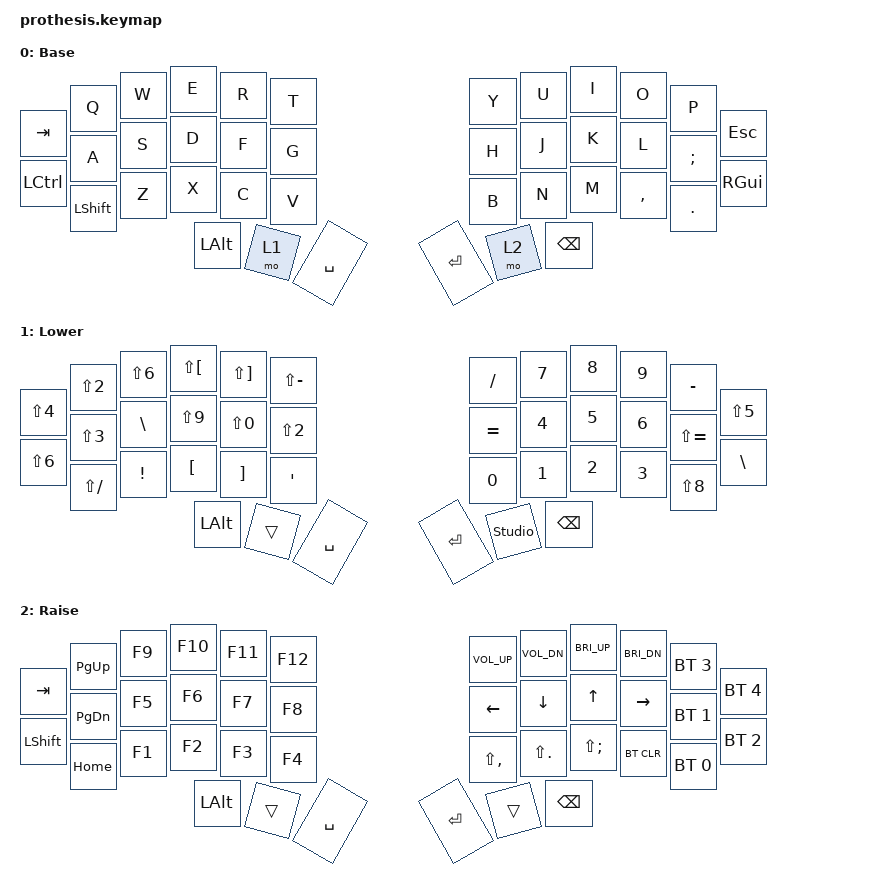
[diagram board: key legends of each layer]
#include <behaviors.dtsi>
#include <dt-bindings/zmk/keys.h>
#include <dt-bindings/zmk/bt.h>

/ {
    keymap {
        compatible = "zmk,keymap";

        // =====================================================================
        // BASE
        // =====================================================================

        default_layer {
            display-name = "Base";

            // -----------------------------------------------------------------
            // | TAB | Q | W | E | R | T |   | Y | U | I | O | P | ESC |
            // | CTRL| A | S | D | F | G |   | H | J | K | L | ; | GUI |
            //       | SHFT| Z | X | C | V |   | B | N | M | , | . |
            //                    | ALT | LOW | SPC |   | ENT | RAI | BKSPC |
            // -----------------------------------------------------------------

            bindings = <
                &kp TAB    &kp Q       &kp W       &kp E       &kp R       &kp T
                &kp Y      &kp U       &kp I       &kp O       &kp P       &kp ESC

                &kp LCTRL  &kp A       &kp S       &kp D       &kp F       &kp G
                &kp H      &kp J       &kp K       &kp L       &kp SEMI    &kp RGUI

                &kp LSHFT  &kp Z       &kp X       &kp C       &kp V
                &kp B      &kp N       &kp M       &kp COMMA   &kp DOT

                &kp LALT   &mo 1       &kp SPACE
                &kp RET    &mo 2       &kp BSPC
            >;
        };

        // =====================================================================
        // LOWER
        // =====================================================================

        lower_layer {
            display-name = "Lower";

            // -----------------------------------------------------------------
            // | $ | @ | & | { | } |  _  |     | / | 7 | 8 | 9 | - | % |
            // | ^ | # | | | ( | ) |  "  |     | = | 4 | 5 | 6 | + | \ |
            //     | ? | ! | [ | ] |  '  |     | 0 | 1 | 2 | 3 | * |
            //         | ALT |     | SPC |     | ENT |     | BKSPC |
            // -----------------------------------------------------------------

            bindings = <
                &kp LS(N4)   &kp LS(N2)    &kp LS(N6)    &kp LS(LBKT)  &kp LS(RBKT)  &kp LS(MINUS)
                &kp FSLH     &kp N7        &kp N8        &kp N9        &kp MINUS     &kp LS(N5)

                &kp LS(N6)   &kp LS(N3)    &kp BSLH      &kp LS(N9)    &kp LS(N0)   &kp LS(N2)
                &kp EQUAL    &kp N4        &kp N5        &kp N6        &kp LS(EQUAL) &kp BSLH

                &kp LS(FSLH) &kp EXCL      &kp LBKT      &kp RBKT      &kp SINGLE_QUOTE
                &kp N0       &kp N1        &kp N2        &kp N3        &kp LS(N8)

                &kp LALT     &trans        &kp SPACE
                &kp RET      &studio_unlock        &kp BSPC
            >;
        };

        // =====================================================================
        // RAISE
        // =====================================================================

        raise_layer {
            display-name = "Raise";

            // -----------------------------------------------------------------
            // | TAB | PGUP | F9 | F10 | F11 | F12 |   | VOLUP | VOLDN | DISPUP | DISPDN | BT3 | BT5 |
            // | SHFT| PGDN | F5 | F6  | F7  | F8  |   | ←     | ↓     | ↑      | →      | BT2 | BT4   |
            // |     | HOME | F1 | F2  | F3  | F4  |   | >     | <     | :      | BTCLR  | BT1|
            //                   | ALT |     | SPC |   | ENT |     | BKSPC |
            // -----------------------------------------------------------------

            bindings = <
                &kp TAB       &kp PG_UP     &kp F9       &kp F10       &kp F11       &kp F12
                &kp C_VOL_UP  &kp C_VOL_DN  &kp C_BRI_UP &kp C_BRI_DN  &bt BT_SEL 3  &bt BT_SEL 4

                &kp LSHFT     &kp PG_DN     &kp F5       &kp F6        &kp F7        &kp F8
                &kp LEFT      &kp DOWN      &kp UP       &kp RIGHT     &bt BT_SEL 1  &bt BT_SEL 2

                &kp HOME      &kp F1       &kp F2        &kp F3        &kp F4
                &kp LS(COMMA) &kp LS(DOT)  &kp LS(SEMI)  &bt BT_CLR    &bt BT_SEL 0

                &kp LALT      &trans        &kp SPACE
                &kp RET       &trans        &kp BSPC
            >;
        };
    };
};
